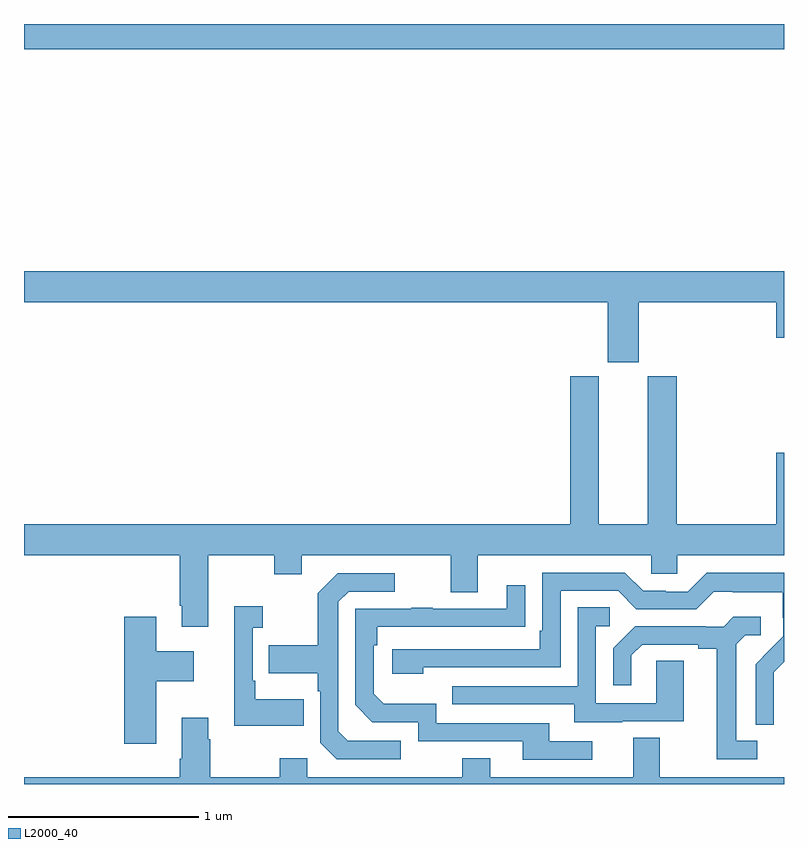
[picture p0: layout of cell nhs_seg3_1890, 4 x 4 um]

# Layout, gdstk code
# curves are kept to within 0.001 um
import gdstk
lib = gdstk.Library(unit=1e-6, precision=1e-09)
def R(c, l, rs):  # rectangles x0, y0, x1, y1
    for r in rs: c.add(gdstk.rectangle(r[:2], r[2:], *l))
def P(c, l, *ps):  # polygons
    for p in ps: c.add(gdstk.Polygon(p, *l))
L2000_40 = (2000, 40)

nhs_seg3_1890 = lib.new_cell('nhs_seg3_1890')
R(nhs_seg3_1890, L2000_40, [(209,682.268,213,682.4)])
P(nhs_seg3_1890, L2000_40, [(212.236,680.936),(212.96,680.936),(212.96,680.748),(213,680.748),(213,681.1),(209,681.1),(209,680.936),(212.072,680.936),(212.072,680.619),(212.236,680.619)],
  [(209.971,679.604),(210.316,679.604),(210.316,679.505),(210.463,679.505),(210.463,679.604),(211.247,679.604),(211.247,679.41),(211.387,679.41),(211.387,679.604),(212.301,679.604),(212.301,679.506),(212.439,679.506),(212.439,679.604),(213,679.604),(213,680.143),(212.96,680.143),(212.96,679.768),(212.435,679.768),(212.435,680.547),(212.282,680.547),(212.282,679.768),(212.026,679.768),(212.026,680.547),(211.874,680.547),(211.874,679.768),(209,679.768),(209,679.604),(209.819,679.604),(209.819,679.339),(209.831,679.339),(209.831,679.227),(209.971,679.227)],
  [(212.946,678.866),(212.945,678.989),(213,679.044),(213,679.513),(212.593,679.513),(212.493,679.413),(212.378,679.413),(212.378,679.416),(212.259,679.416),(212.163,679.512),(211.728,679.512),(211.728,679.207),(211.715,679.207),(211.715,679.11),(210.939,679.11),(210.939,678.98),(211.1,678.98),(211.1,679.014),(211.824,679.014),(211.824,679.416),(212.127,679.416),(212.223,679.32),(212.538,679.32),(212.631,679.413),(212.731,679.413),(212.731,679.409),(212.994,679.409),(212.994,679.275),(212.996,679.275),(212.996,679.178),(212.85,679.03),(212.85,678.712),(212.946,678.712)],
  [(210.982,678.627),(210.705,678.627),(210.654,678.678),(210.654,679.359),(210.708,679.413),(210.952,679.413),(210.952,679.509),(210.651,679.509),(210.546,679.403),(210.546,679.131),(210.289,679.131),(210.289,678.983),(210.546,678.983),(210.546,678.887),(210.558,678.887),(210.558,678.618),(210.645,678.531),(210.982,678.531)],
  [(211.99,678.624),(211.765,678.624),(211.765,678.72),(211.17,678.72),(211.17,678.823),(210.893,678.823),(210.84,678.876),(210.84,679.13),(210.86,679.13),(210.86,679.227),(211.637,679.228),(211.637,679.447),(211.541,679.447),(211.541,679.323),(211.151,679.323),(211.151,679.328),(211.039,679.328),(211.039,679.323),(210.744,679.323),(210.744,678.816),(210.834,678.726),(211.074,678.726),(211.074,678.624),(211.625,678.624),(211.625,678.528),(211.99,678.528)],
  [(210.473,678.847),(210.217,678.847),(210.217,678.943),(210.204,678.943),(210.204,679.223),(210.256,679.223),(210.256,679.336),(210.107,679.336),(210.107,678.707),(210.473,678.707)],
  [(212.149,678.729),(212.473,678.729),(212.473,679.049),(212.328,679.049),(212.328,678.825),(212.01,678.825),(212.01,679.23),(212.083,679.23),(212.083,679.331),(211.914,679.331),(211.914,678.915),(211.255,678.915),(211.255,678.819),(211.895,678.819),(211.895,678.725),(212.149,678.725)],
  [(209.695,678.941),(209.893,678.941),(209.893,679.099),(209.695,679.099),(209.695,679.279),(209.528,679.279),(209.528,678.612),(209.695,678.612)],
  [(212.86,678.627),(212.749,678.627),(212.749,679.135),(212.796,679.182),(212.878,679.182),(212.878,679.279),(212.734,679.279),(212.682,679.227),(212.588,679.227),(212.588,679.23),(212.216,679.23),(212.1,679.114),(212.1,678.921),(212.197,678.921),(212.197,679.077),(212.254,679.134),(212.549,679.134),(212.549,679.112),(212.645,679.112),(212.645,678.531),(212.86,678.531)],
  [(213,678.436),(212.347,678.436),(212.347,678.644),(212.207,678.644),(212.207,678.436),(211.453,678.436),(211.453,678.535),(211.306,678.535),(211.306,678.436),(210.492,678.436),(210.492,678.535),(210.346,678.535),(210.346,678.436),(209.979,678.436),(209.979,678.635),(209.971,678.635),(209.971,678.748),(209.831,678.748),(209.831,678.532),(209.819,678.532),(209.819,678.436),(209,678.436),(209,678.4),(213,678.4)])

lib.write_gds('nhs_seg3_1890.gds')
